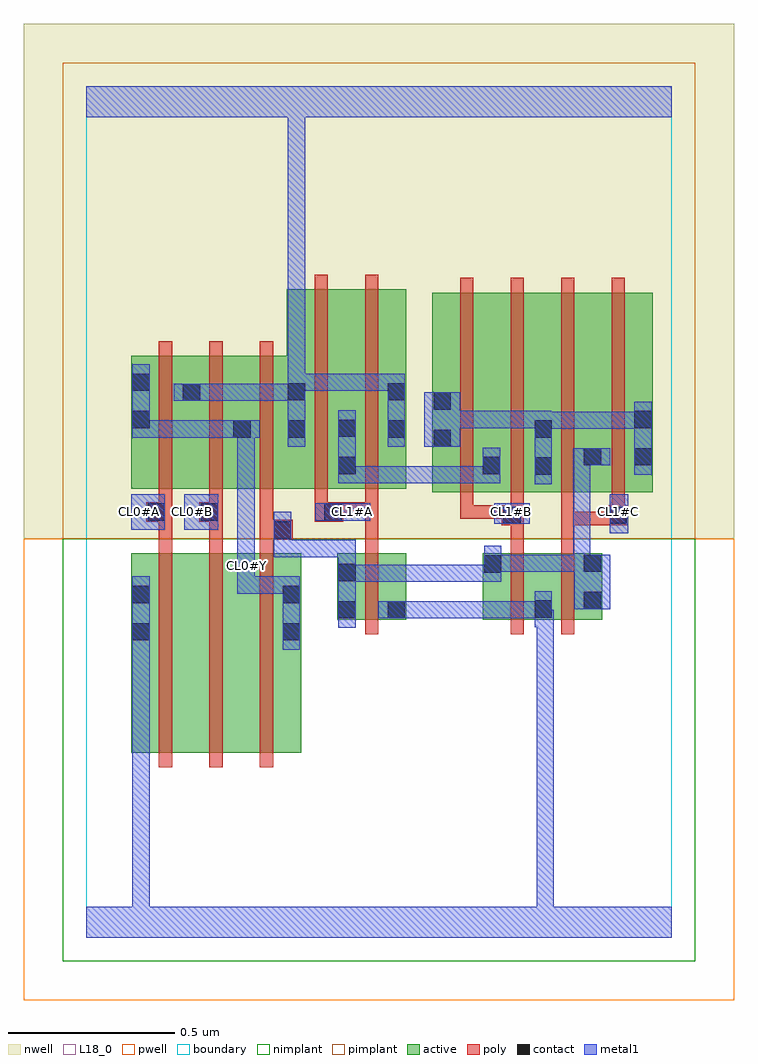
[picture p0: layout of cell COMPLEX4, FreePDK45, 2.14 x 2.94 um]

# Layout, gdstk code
import gdstk
lib = gdstk.Library(unit=1e-6, precision=1e-09)
def R(c, l, rs):  # rectangles x0, y0, x1, y1
    for r in rs: c.add(gdstk.rectangle(r[:2], r[2:], *l))
def A(c, l, x, y, w, h, nx, ny, dx, dy):  # array of equal rectangles
    R(c, l, [(x+i*dx, y+j*dy, x+i*dx+w, y+j*dy+h) for i in range(nx) for j in range(ny)])
active = (1, 0)
pwell = (2, 0)
nwell = (3, 0)
nimplant = (4, 0)
pimplant = (5, 0)
poly = (9, 0)
contact = (10, 0)
metal1 = (11, 0)
L18_0 = (18, 0)
boundary = (235, 0)

complex4 = lib.new_cell('COMPLEX4')
R(complex4, active, [(0.134,0.556,0.194,1.156), (0.134,0.556,0.314,1.156), (0.314,0.556,0.466,1.156), (0.466,0.556,0.646,1.156), (0.586,0.556,0.646,1.156), (0.754,0.956,0.814,1.156), (0.754,0.956,0.962,1.156), (0.902,0.956,0.962,1.156), (1.192,0.956,1.252,1.156), (1.192,0.956,1.404,1.156), (1.344,0.956,1.404,1.156), (1.344,0.956,1.552,1.156), (1.492,0.956,1.552,1.156), (1.04,1.34,1.1,1.94), (1.04,1.34,1.248,1.94), (1.188,1.34,1.404,1.94), (1.344,1.34,1.404,1.94), (1.344,1.34,1.552,1.94), (1.492,1.34,1.552,1.94), (1.492,1.34,1.704,1.94), (1.644,1.34,1.704,1.94), (0.134,1.35,0.194,1.75), (0.134,1.35,0.346,1.75), (0.286,1.35,0.498,1.75), (0.438,1.35,0.662,1.75), (0.438,1.35,0.498,1.75), (0.602,1.35,0.662,1.95), (0.602,1.35,0.814,1.95), (0.754,1.35,0.814,1.95), (0.754,1.35,0.962,1.95), (0.902,1.35,0.962,1.95), (1.188,1.39,1.248,1.844), (0.286,1.584,0.346,1.67)])
R(complex4, pwell, [(-0.188,-0.188,1.948,1.2)])
R(complex4, nwell, [(-0.188,1.2,1.948,2.748)])
R(complex4, nimplant, [(-0.072,-0.072,1.832,1.2)])
R(complex4, pimplant, [(-0.072,1.2,1.832,2.632)])
A(complex4, poly, 0.218, 0.512, 0.04, 0.688, 3, 1, 0.152, 0)
A(complex4, poly, 1.124, 1.296, 0.04, 0.688, 4, 1, 0.152, 0)
A(complex4, poly, 0.218, 1.306, 0.04, 0.488, 3, 1, 0.152, 0)
R(complex4, poly, [(0.838,0.912,0.878,1.2), (1.276,0.912,1.316,1.2), (1.428,0.912,1.468,1.2), (0.218,1.16,0.258,1.29), (0.37,1.16,0.41,1.29), (0.522,1.16,0.562,1.236), (0.838,1.16,0.878,1.31), (1.276,1.16,1.316,1.28), (1.428,1.16,1.468,1.28), (0.522,1.196,0.62,1.256), (0.522,1.216,0.562,1.256), (0.522,1.216,0.562,1.256), (0.522,1.216,0.562,1.346), (1.25,1.24,1.316,1.3), (1.276,1.24,1.316,1.28), (1.276,1.24,1.316,1.28), (1.428,1.24,1.61,1.28), (1.428,1.24,1.468,1.28), (1.428,1.24,1.468,1.28), (1.428,1.24,1.468,1.28), (1.428,1.24,1.468,1.28), (1.428,1.24,1.468,1.28), (1.428,1.24,1.468,1.336), (1.57,1.24,1.63,1.3), (0.18,1.25,0.258,1.31), (0.218,1.25,0.258,1.29), (0.218,1.25,0.258,1.29), (0.34,1.25,0.41,1.31), (0.686,1.25,0.772,1.31), (1.124,1.26,1.164,1.336), (1.124,1.26,1.164,1.3), (1.124,1.26,1.29,1.3), (1.25,1.26,1.29,1.3), (1.25,1.26,1.29,1.3), (1.276,1.26,1.316,1.336), (1.58,1.26,1.62,1.336), (0.218,1.27,0.258,1.346), (0.37,1.27,0.41,1.346), (0.37,1.27,0.41,1.31), (0.37,1.27,0.41,1.31), (0.686,1.27,0.726,1.346), (0.732,1.27,0.878,1.31), (0.838,1.27,0.878,1.346), (0.838,1.27,0.878,1.31), (0.838,1.27,0.878,1.31), (0.838,1.27,0.878,1.31), (0.838,1.27,0.878,1.31), (0.838,1.27,0.878,1.31), (0.686,1.306,0.726,1.994), (0.838,1.306,0.878,1.994)])
R(complex4, contact, [(0.138,0.894,0.19,0.946), (0.59,0.894,0.642,0.946), (0.758,0.96,0.81,1.012), (0.906,0.96,0.958,1.012), (1.348,0.962,1.4,1.014), (1.496,0.988,1.548,1.04), (0.138,1.006,0.19,1.058), (0.59,1.006,0.642,1.058), (0.758,1.072,0.81,1.124), (1.196,1.098,1.248,1.15), (1.496,1.1,1.548,1.152), (0.564,1.2,0.616,1.252), (1.254,1.244,1.306,1.296), (1.574,1.244,1.626,1.296), (0.184,1.254,0.236,1.306), (0.344,1.254,0.396,1.306), (0.716,1.254,0.768,1.306), (1.348,1.392,1.4,1.444), (0.758,1.394,0.81,1.446), (1.192,1.394,1.244,1.446), (1.496,1.42,1.548,1.472), (1.648,1.42,1.7,1.472), (1.044,1.476,1.096,1.528), (0.442,1.504,0.494,1.556), (0.606,1.504,0.658,1.556), (0.906,1.504,0.958,1.556), (1.348,1.504,1.4,1.556), (0.758,1.506,0.81,1.558), (0.138,1.532,0.19,1.584), (1.648,1.532,1.7,1.584), (1.044,1.588,1.096,1.64), (0.29,1.614,0.342,1.666), (0.606,1.616,0.658,1.668), (0.906,1.616,0.958,1.668), (0.138,1.644,0.19,1.696)])
R(complex4, metal1, [(0,0,1.76,0.092), (0.138,0.04,0.19,0.092), (0.138,0.04,0.19,0.092), (0.138,0.04,0.19,0.092), (0.138,0.04,0.19,0.092), (0.138,0.04,0.19,0.092), (0.138,0.04,0.19,0.092), (0.138,0.04,0.19,0.092), (0.138,0.04,0.19,0.092), (0.138,0.04,0.19,0.918), (1.354,0.04,1.406,0.092), (1.354,0.04,1.406,0.092), (1.354,0.04,1.406,0.092), (1.354,0.04,1.406,0.092), (1.354,0.04,1.406,0.092), (1.354,0.04,1.406,0.092), (1.354,0.04,1.406,0.092), (1.354,0.04,1.406,0.092), (1.354,0.04,1.406,0.092), (1.354,0.04,1.406,0.092), (1.354,0.04,1.406,0.092), (1.354,0.04,1.406,0.092), (1.354,0.04,1.406,0.092), (1.354,0.04,1.406,0.092), (1.354,0.04,1.406,0.986), (0.138,0.866,0.19,1.086), (0.59,0.866,0.642,1.086), (0.758,0.932,0.81,1.152), (1.348,0.934,1.4,0.986), (1.348,0.934,1.4,1.042), (1.348,0.934,1.406,0.986), (0.878,0.96,0.986,1.012), (0.934,0.96,1.096,1.012), (1.044,0.96,1.096,1.012), (1.044,0.96,1.096,1.012), (1.044,0.96,1.096,1.012), (1.044,0.96,1.258,1.012), (1.206,0.96,1.258,1.012), (1.206,0.96,1.258,1.012), (1.206,0.96,1.258,1.012), (1.206,0.96,1.4,1.012), (1.468,0.988,1.576,1.152), (0.454,1.034,0.506,1.086), (0.454,1.034,0.506,1.086), (0.454,1.034,0.506,1.086), (0.454,1.034,0.642,1.086), (0.454,1.034,0.506,1.118), (0.454,1.066,0.506,1.174), (0.758,1.07,0.958,1.122), (0.906,1.07,0.958,1.122), (0.906,1.07,0.958,1.122), (0.906,1.07,0.958,1.122), (0.906,1.07,1.096,1.122), (1.044,1.07,1.096,1.122), (1.044,1.07,1.096,1.122), (1.044,1.07,1.096,1.122), (1.044,1.07,1.248,1.122), (1.196,1.07,1.248,1.178), (0.758,1.1,0.81,1.196), (1.196,1.1,1.248,1.152), (1.196,1.1,1.248,1.152), (1.196,1.1,1.368,1.152), (1.316,1.1,1.368,1.152), (1.316,1.1,1.368,1.152), (1.316,1.1,1.368,1.152), (1.316,1.1,1.52,1.152), (1.464,1.1,1.516,1.152), (1.464,1.1,1.516,1.152), (1.464,1.1,1.516,1.472), (1.464,1.1,1.52,1.152), (1.468,1.1,1.52,1.152), (0.454,1.122,0.506,1.174), (0.454,1.122,0.506,1.174), (0.454,1.122,0.506,1.556), (0.564,1.144,0.81,1.196), (0.564,1.144,0.616,1.224), (0.758,1.144,0.81,1.196), (0.758,1.144,0.81,1.196), (0.758,1.144,0.81,1.196), (0.564,1.172,0.616,1.224), (0.564,1.172,0.616,1.28), (1.574,1.216,1.63,1.334), (0.134,1.226,0.236,1.334), (0.294,1.226,0.396,1.334), (1.226,1.244,1.334,1.306), (0.688,1.254,0.854,1.306), (1.348,1.364,1.4,1.584), (0.758,1.366,0.81,1.586), (0.758,1.366,0.958,1.418), (0.906,1.366,0.958,1.418), (0.906,1.366,0.958,1.418), (0.906,1.366,0.958,1.418), (0.906,1.366,1.096,1.418), (1.044,1.366,1.096,1.418), (1.044,1.366,1.096,1.418), (1.044,1.366,1.096,1.418), (1.044,1.366,1.244,1.418), (1.192,1.366,1.244,1.474), (1.648,1.392,1.7,1.612), (1.464,1.42,1.576,1.472), (0.606,1.476,0.658,1.696), (0.906,1.476,0.958,1.696), (1.016,1.476,1.124,1.64), (0.138,1.504,0.19,1.556), (0.138,1.504,0.19,1.556), (0.138,1.504,0.19,1.724), (0.138,1.504,0.356,1.556), (0.304,1.504,0.356,1.556), (0.304,1.504,0.356,1.556), (0.304,1.504,0.356,1.556), (0.304,1.504,0.466,1.556), (0.414,1.504,0.522,1.556), (1.348,1.53,1.4,1.582), (1.348,1.53,1.4,1.582), (1.348,1.53,1.59,1.582), (1.538,1.53,1.59,1.582), (1.538,1.53,1.7,1.582), (1.648,1.53,1.7,1.582), (1.648,1.53,1.7,1.582), (1.072,1.532,1.124,1.584), (1.072,1.532,1.124,1.584), (1.072,1.532,1.234,1.584), (1.182,1.532,1.234,1.584), (1.182,1.532,1.234,1.584), (1.182,1.532,1.234,1.584), (1.182,1.532,1.4,1.584), (0.262,1.614,0.37,1.666), (0.304,1.614,0.356,1.666), (0.304,1.614,0.356,1.666), (0.304,1.614,0.356,1.666), (0.304,1.614,0.356,1.666), (0.304,1.614,0.356,1.666), (0.304,1.614,0.356,1.666), (0.304,1.614,0.506,1.666), (0.454,1.614,0.506,1.666), (0.454,1.614,0.506,1.666), (0.454,1.614,0.506,1.666), (0.454,1.614,0.658,1.666), (0.606,1.644,0.768,1.696), (0.606,1.644,0.658,2.52), (0.716,1.644,0.768,1.696), (0.716,1.644,0.768,1.696), (0.716,1.644,0.768,1.696), (0.716,1.644,0.958,1.696), (0.906,1.644,0.958,1.696), (0.906,1.644,0.958,1.696), (0,2.468,1.76,2.56), (0.606,2.468,0.658,2.52), (0.606,2.468,0.658,2.52), (0.606,2.468,0.658,2.52), (0.606,2.468,0.658,2.52), (0.606,2.468,0.658,2.52), (0.606,2.468,0.658,2.52), (0.606,2.468,0.658,2.52), (0.606,2.468,0.658,2.52), (0.606,2.468,0.658,2.52), (0.606,2.468,0.658,2.52), (0.606,2.468,0.658,2.52), (0.606,2.468,0.658,2.52)])
A(complex4, L18_0, 0.294, 1.254, 0.052, 0.052, 3, 1, 0.48, 0)
R(complex4, L18_0, [(0,0,1.76,0.092), (0.138,0.04,0.19,0.092), (0.138,0.04,0.19,0.092), (0.138,0.04,0.19,0.092), (0.138,0.04,0.19,0.092), (0.138,0.04,0.19,0.092), (0.138,0.04,0.19,0.092), (0.138,0.04,0.19,0.092), (0.138,0.04,0.19,0.092), (0.138,0.04,0.19,0.918), (1.354,0.04,1.406,0.092), (1.354,0.04,1.406,0.092), (1.354,0.04,1.406,0.092), (1.354,0.04,1.406,0.092), (1.354,0.04,1.406,0.092), (1.354,0.04,1.406,0.092), (1.354,0.04,1.406,0.092), (1.354,0.04,1.406,0.092), (1.354,0.04,1.406,0.092), (1.354,0.04,1.406,0.092), (1.354,0.04,1.406,0.092), (1.354,0.04,1.406,0.092), (1.354,0.04,1.406,0.092), (1.354,0.04,1.406,0.092), (1.354,0.04,1.406,0.986), (0.138,0.866,0.19,1.086), (0.59,0.866,0.642,1.086), (1.348,0.934,1.4,0.986), (1.348,0.934,1.4,1.042), (1.348,0.934,1.406,0.986), (0.878,0.96,0.986,1.012), (0.934,0.96,1.096,1.012), (1.044,0.96,1.096,1.012), (1.044,0.96,1.096,1.012), (1.044,0.96,1.096,1.012), (1.044,0.96,1.258,1.012), (1.206,0.96,1.258,1.012), (1.206,0.96,1.258,1.012), (1.206,0.96,1.258,1.012), (1.206,0.96,1.4,1.012), (0.454,1.034,0.506,1.086), (0.454,1.034,0.506,1.086), (0.454,1.034,0.506,1.086), (0.454,1.034,0.506,1.118), (0.454,1.034,0.642,1.086), (0.454,1.066,0.506,1.174), (0.454,1.094,0.506,1.146), (0.454,1.122,0.506,1.174), (0.454,1.122,0.506,1.174), (0.454,1.122,0.506,1.556), (1.574,1.216,1.63,1.334), (0.134,1.226,0.236,1.334), (0.294,1.226,0.396,1.334), (1.226,1.244,1.334,1.306), (0.134,1.254,0.186,1.306), (0.688,1.254,0.854,1.306), (1.574,1.254,1.626,1.306), (0.606,1.476,0.658,1.696), (0.906,1.476,0.958,1.696), (0.138,1.504,0.19,1.556), (0.138,1.504,0.19,1.556), (0.138,1.504,0.19,1.724), (0.138,1.504,0.356,1.556), (0.304,1.504,0.356,1.556), (0.304,1.504,0.356,1.556), (0.304,1.504,0.356,1.556), (0.304,1.504,0.466,1.556), (0.414,1.504,0.522,1.556), (0.262,1.614,0.37,1.666), (0.304,1.614,0.356,1.666), (0.304,1.614,0.356,1.666), (0.304,1.614,0.356,1.666), (0.304,1.614,0.356,1.666), (0.304,1.614,0.356,1.666), (0.304,1.614,0.356,1.666), (0.304,1.614,0.506,1.666), (0.454,1.614,0.506,1.666), (0.454,1.614,0.506,1.666), (0.454,1.614,0.506,1.666), (0.454,1.614,0.658,1.666), (0.606,1.644,0.768,1.696), (0.606,1.644,0.658,2.52), (0.716,1.644,0.768,1.696), (0.716,1.644,0.768,1.696), (0.716,1.644,0.768,1.696), (0.716,1.644,0.958,1.696), (0.906,1.644,0.958,1.696), (0.906,1.644,0.958,1.696), (0,2.468,1.76,2.56), (0.606,2.468,0.658,2.52), (0.606,2.468,0.658,2.52), (0.606,2.468,0.658,2.52), (0.606,2.468,0.658,2.52), (0.606,2.468,0.658,2.52), (0.606,2.468,0.658,2.52), (0.606,2.468,0.658,2.52), (0.606,2.468,0.658,2.52), (0.606,2.468,0.658,2.52), (0.606,2.468,0.658,2.52), (0.606,2.468,0.658,2.52), (0.606,2.468,0.658,2.52)])
R(complex4, boundary, [(0,0,1.76,2.56)])
complex4.add(gdstk.Label('CL0#A', (0.16,1.28), layer=11, texttype=0))
complex4.add(gdstk.Label('CL0#B', (0.32,1.28), layer=11, texttype=0))
complex4.add(gdstk.Label('CL0#Y', (0.48,1.12), layer=11, texttype=0))
complex4.add(gdstk.Label('CL1#A', (0.8,1.28), layer=11, texttype=0))
complex4.add(gdstk.Label('CL1#B', (1.28,1.28), layer=11, texttype=0))
complex4.add(gdstk.Label('CL1#C', (1.6,1.28), layer=11, texttype=0))

lib.write_gds('COMPLEX4.gds')
